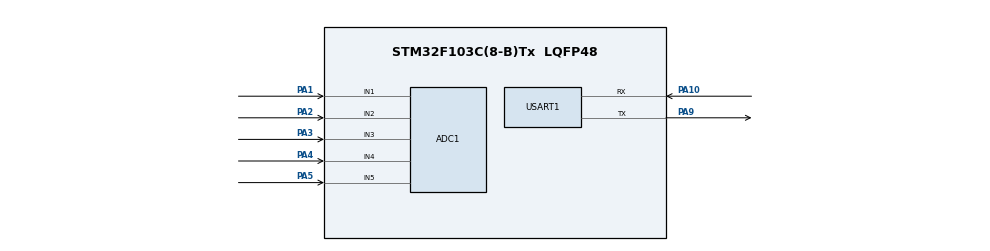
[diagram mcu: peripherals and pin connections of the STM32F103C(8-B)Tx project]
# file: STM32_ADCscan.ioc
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ADC1.Channel-0\#ChannelRegularConversion=ADC_CHANNEL_1
ADC1.Channel-1\#ChannelRegularConversion=ADC_CHANNEL_2
ADC1.Channel-2\#ChannelRegularConversion=ADC_CHANNEL_3
ADC1.Channel-3\#ChannelRegularConversion=ADC_CHANNEL_4
ADC1.Channel-4\#ChannelRegularConversion=ADC_CHANNEL_5
ADC1.ContinuousConvMode=DISABLE
ADC1.DiscontinuousConvMode=ENABLE
ADC1.NbrOfConversion=5
ADC1.NbrOfConversionFlag=1
ADC1.Rank-0\#ChannelRegularConversion=1
ADC1.Rank-1\#ChannelRegularConversion=2
ADC1.Rank-2\#ChannelRegularConversion=3
ADC1.Rank-3\#ChannelRegularConversion=4
ADC1.Rank-4\#ChannelRegularConversion=5
ADC1.SamplingTime-0\#ChannelRegularConversion=ADC_SAMPLETIME_1CYCLE_5
ADC1.SamplingTime-1\#ChannelRegularConversion=ADC_SAMPLETIME_1CYCLE_5
ADC1.SamplingTime-2\#ChannelRegularConversion=ADC_SAMPLETIME_1CYCLE_5
ADC1.SamplingTime-3\#ChannelRegularConversion=ADC_SAMPLETIME_1CYCLE_5
ADC1.SamplingTime-4\#ChannelRegularConversion=ADC_SAMPLETIME_1CYCLE_5
ADC1.master=1
Mcu.Family=STM32F1
Mcu.Name=STM32F103C(8-B)Tx
Mcu.Package=LQFP48
NVIC.PriorityGroup=NVIC_PRIORITYGROUP_4
NVIC.USART1_IRQn=true\:0\:0\:false\:false\:true\:true\:true\:true
PA1.Signal=ADCx_IN1
PA10.Mode=Asynchronous
PA10.Signal=USART1_RX
PA13.Mode=Serial_Wire
PA13.Signal=SYS_JTMS-SWDIO
PA14.Mode=Serial_Wire
PA14.Signal=SYS_JTCK-SWCLK
PA2.Signal=ADCx_IN2
PA3.Signal=ADCx_IN3
PA4.Signal=ADCx_IN4
PA5.Signal=ADCx_IN5
PA9.Mode=Asynchronous
PA9.Signal=USART1_TX
PD0-OSC_IN.Mode=HSE-External-Oscillator
PD0-OSC_IN.Signal=RCC_OSC_IN
PD1-OSC_OUT.Mode=HSE-External-Oscillator
PD1-OSC_OUT.Signal=RCC_OSC_OUT
ProjectManager.HeapSize=0x200
ProjectManager.StackSize=0x400
ProjectManager.TargetToolchain=MDK-ARM V5.32
RCC.APB1Freq_Value=8000000
RCC.APB2Freq_Value=8000000
RCC.HSICalibrationValue=16
SH.ADCx_IN1.0=ADC1_IN1,IN1
SH.ADCx_IN2.0=ADC1_IN2,IN2
SH.ADCx_IN3.0=ADC1_IN3,IN3
SH.ADCx_IN4.0=ADC1_IN4,IN4
SH.ADCx_IN5.0=ADC1_IN5,IN5
USART1.VirtualMode=VM_ASYNC
board=custom

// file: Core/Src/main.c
/* USER CODE BEGIN Header */
/**
 ******************************************************************************
 * @file           : main.c
 * @brief          : Main program body
 ******************************************************************************
 * @attention
 *
 * Copyright (c) 2024 STMicroelectronics.
 * All rights reserved.
 *
 * This software is licensed under terms that can be found in the LICENSE file
 * in the root directory of this software component.
 * If no LICENSE file comes with this software, it is provided AS-IS.
 *
 ******************************************************************************
 */
/* USER CODE END Header */
#include "main.h"
#include "adc.h"
#include "gpio.h"
#include "usart.h"

/* USER CODE BEGIN Includes */
#include <stdint.h>
#include <stdio.h>
/* USER CODE END Includes */

/* USER CODE BEGIN PM */
uint32_t ADC_Value;
uint32_t ADC[5];
float    voltage[5];
float    voltage_x_voltage_sum[5];
float    rms_voltage[5];
/* USER CODE END PM */

void SystemClock_Config(void);

/* USER CODE BEGIN 0 */
// 重定向c库函数printf到串口USARTx，重定向后可使用printf函数
int fputc(int ch, FILE* f)
{
    /* 发�?�一个字节数据到串口USARTx */
    HAL_UART_Transmit(&huart1, (uint8_t*)&ch, 1, 0xFFFF);
    return (ch);
}

// 重定向c库函数scanf到串口USARTx，重写向后可使用scanf、getchar等函�???
int fgetc(FILE* f)
{
    int ch;
    /* 等待串口输入数据 */
    while (__HAL_UART_GET_FLAG(&huart1, UART_FLAG_RXNE) == RESET)
        ;
    HAL_UART_Receive(&huart1, (uint8_t*)&ch, 1, 0xFFFF);
    return (ch);
}
/* USER CODE END 0 */

int main(void)
{

    /* USER CODE BEGIN 1 */
    int i;
    int j;
    int k;
    int gesture;
    /* USER CODE END 1 */

    /* MCU Configuration--------------------------------------------------------*/

    /* Reset of all peripherals, Initializes the Flash interface and the Systick. */
    HAL_Init();

    /* Configure the system clock */
    SystemClock_Config();

    /* Initialize all configured peripherals */
    MX_GPIO_Init();
    MX_ADC1_Init();
    MX_USART1_UART_Init();

    /* Infinite loop */
    while (1)
    {

        /* USER CODE BEGIN 3 */
        for (j = 0; j < 500; j++)
        {
            for (i = 0; i < 5; i++)
            {
                HAL_ADC_Start(&hadc1);
                HAL_ADC_PollForConversion(&hadc1, 0xffff);
                ADC_Value                = HAL_ADC_GetValue(&hadc1);
                ADC[i]                   = ADC_Value;
                voltage[i]               = ADC_Value * 0.00028089887;
                voltage_x_voltage_sum[i] = voltage_x_voltage_sum[i] + voltage[i] * voltage[i];
                // printf("ADC1 Channel%d Reading : %d, Voltage value :%.4f\r\n", i, ADC_Value, ADC_Value * 3.3f / 4096);
            }
            // printf("%d,%d,%d,%d,%d,gesture=%d\n",ADC[0],ADC[1],ADC[2],ADC[3],ADC[4],gesture);
            HAL_ADC_Stop(&hadc1);
        }
        gesture = 5;
        for (i = 0; i < 5; i++)
        {
            rms_voltage[i]           = sqrt(voltage_x_voltage_sum[i] / 500);
            voltage_x_voltage_sum[i] = 0;
            if (rms_voltage[i] > 0.5)
            {
                gesture--;
            }
        }
        printf("%fV,%fV,%fV,%fV,%fV,gesture=%d\n", rms_voltage[0], rms_voltage[1], rms_voltage[2], rms_voltage[3], rms_voltage[4], gesture);
    }
    /* USER CODE END 3 */
}

void SystemClock_Config(void)
{
    RCC_OscInitTypeDef       RCC_OscInitStruct = { 0 };
    RCC_ClkInitTypeDef       RCC_ClkInitStruct = { 0 };
    RCC_PeriphCLKInitTypeDef PeriphClkInit     = { 0 };

    /** Initializes the RCC Oscillators according to the specified parameters
     * in the RCC_OscInitTypeDef structure.
     */
    RCC_OscInitStruct.OscillatorType      = RCC_OSCILLATORTYPE_HSI;
    RCC_OscInitStruct.HSIState            = RCC_HSI_ON;
    RCC_OscInitStruct.HSICalibrationValue = RCC_HSICALIBRATION_DEFAULT;
    RCC_OscInitStruct.PLL.PLLState        = RCC_PLL_NONE;
    if (HAL_RCC_OscConfig(&RCC_OscInitStruct) != HAL_OK)
    {
        Error_Handler();
    }

    /** Initializes the CPU, AHB and APB buses clocks
     */
    RCC_ClkInitStruct.ClockType      = RCC_CLOCKTYPE_HCLK | RCC_CLOCKTYPE_SYSCLK | RCC_CLOCKTYPE_PCLK1 | RCC_CLOCKTYPE_PCLK2;
    RCC_ClkInitStruct.SYSCLKSource   = RCC_SYSCLKSOURCE_HSI;
    RCC_ClkInitStruct.AHBCLKDivider  = RCC_SYSCLK_DIV1;
    RCC_ClkInitStruct.APB1CLKDivider = RCC_HCLK_DIV1;
    RCC_ClkInitStruct.APB2CLKDivider = RCC_HCLK_DIV1;

    if (HAL_RCC_ClockConfig(&RCC_ClkInitStruct, FLASH_LATENCY_0) != HAL_OK)
    {
        Error_Handler();
    }
    PeriphClkInit.PeriphClockSelection = RCC_PERIPHCLK_ADC;
    PeriphClkInit.AdcClockSelection    = RCC_ADCPCLK2_DIV2;
    if (HAL_RCCEx_PeriphCLKConfig(&PeriphClkInit) != HAL_OK)
    {
        Error_Handler();
    }
}

void Error_Handler(void)
{
    __disable_irq();
    while (1)
    {
    }
}
